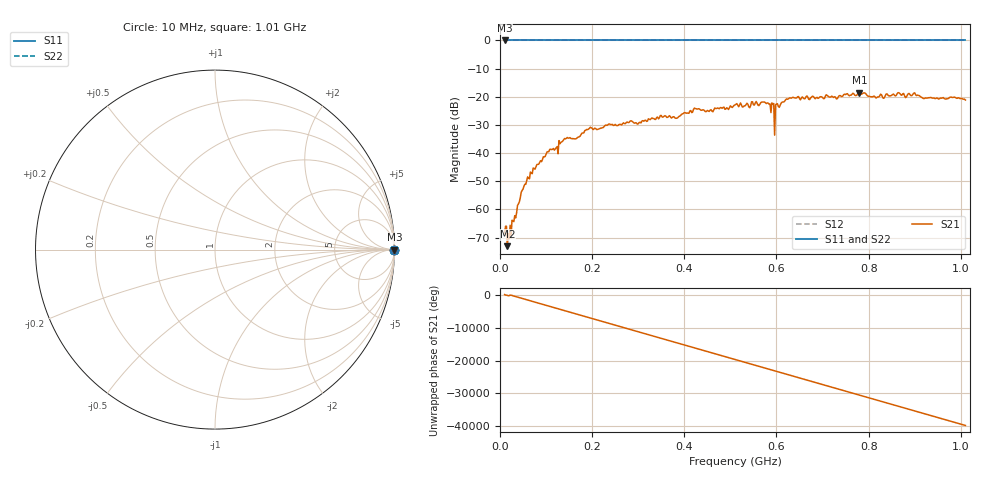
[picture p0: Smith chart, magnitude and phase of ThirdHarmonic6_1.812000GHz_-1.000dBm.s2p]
! 8/16/2025 9:57:14 PM
! C:\ANRITSUVNA\TEMP\TEMP.S2P
! CHANNEL.1
! TR.MEASUREMENT
! RAW.DATA
! RF.CORRECTION.OFF
! AVERAGING.OFF
! IF.BANDWIDTH: 5KHZ
! SWEEPTYPE:  FREQ.SWEEP(Linear)
! Reference Plane Port Info
! PORT:  PORT1  PORT2
! DISTANCE:  0  m  0  m
! TIME:  0  s  0  s
! PHASE.OFFSET:  0  deg.  0  deg.
! LOSS:  0  dB  0  dB
! REF.LOSS:  0  dB  0  dB
! REF.FREQ:  0  Hz  0  Hz
! Power Info
! POWER:  -20  dBm  -20  dBm
! EFF.POWER:  -20  dBm  -20  dBm
! SOURCE.ATTEN:  0  dB  0  dB
! TEST.ATTEN:  0  dB  0  dB
# GHZ S RI R 50.0
! FREQ.GHZ  S11RE  S11IM  S21RE  S21IM  S12RE  S12IM  S22RE  S22IM
!; PortSelection: Port_12
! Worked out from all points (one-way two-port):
!   501 points, 10 MHz to 1.01 GHz, reference 50 ohm
!   highest |S21| = -18.50 dB at 780 MHz (marker M1); lowest = -73.0 dB at 16 MHz (marker M2)
!   lowest |S11| = 0.0 dB at 10 MHz (marker M3)
!   |S11| at or under -10 dB: nowhere
!   |S22| runs from 0.0 to 0.0 dB; largest |S21 - S12| = 1.1
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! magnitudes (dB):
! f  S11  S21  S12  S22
! 10 MHz  0.0  -68.4  0.0  0.0
! 16 MHz  0.0  -73.0  0.0  0.0
! 20 MHz  0.0  -70.5  0.0  0.0
! 50 MHz  0.0  -52.8  0.0  0.0
! 70 MHz  0.0  -47.3  0.0  0.0
! 106 MHz  0.0  -39.5  0.0  0.0
! 122 MHz  0.0  -38.1  0.0  0.0
! 142 MHz  0.0  -34.9  0.0  0.0
! 178 MHz  0.0  -32.9  0.0  0.0
! 196 MHz  0.0  -30.8  0.0  0.0
! 344 MHz  0.0  -27.8  0.0  0.0
! 384 MHz  0.0  -27.6  0.0  0.0
! 424 MHz  0.0  -24.2  0.0  0.0
! 510 MHz  0.0  -22.9  0.0  0.0
! 572 MHz  0.0  -21.9  0.0  0.0
! 590 MHz  0.0  -22.2  0.0  0.0
! 592 MHz  0.0  -22.6  0.0  0.0
! 626 MHz  0.0  -20.7  0.0  0.0
! 678 MHz  0.0  -19.8  0.0  0.0
! 780 MHz  0.0  -18.5  0.0  0.0
! 844 MHz  0.0  -19.7  0.0  0.0
! 1.01 GHz  0.0  -21.1  0.0  0.0
